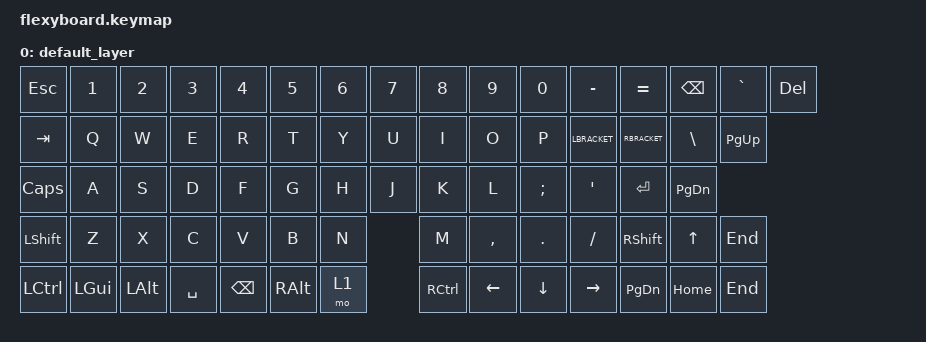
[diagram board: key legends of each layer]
#include <behaviors.dtsi>
#include <dt-bindings/zmk/keys.h>
#include <dt-bindings/zmk/bt.h>

/ {
    keymap {
        compatible = "zmk,keymap";

        default_layer {
            bindings = <
                &kp ESC    &kp N1     &kp N2     &kp N3     &kp N4     &kp N5     &kp N6     &kp N7     &kp N8     &kp N9     &kp N0     &kp MINUS  &kp EQUAL   &kp BSPC    &kp GRAVE   &kp DEL
                &kp TAB    &kp Q      &kp W      &kp E      &kp R      &kp T      &kp Y      &kp U      &kp I      &kp O      &kp P      &kp LBRACKET &kp RBRACKET &kp BSLH    &kp PG_UP
                &kp CAPS   &kp A      &kp S      &kp D      &kp F      &kp G      &kp H      &kp J      &kp K      &kp L      &kp SEMI    &kp SQT     &kp ENTER     &kp PG_DN
                &kp LSHIFT &kp Z      &kp X      &kp C      &kp V      &kp B      &kp N      &kp M      &kp COMMA   &kp DOT     &kp SLASH   &kp RSHIFT   &kp UP        &kp END
                &kp LCTRL  &kp LGUI   &kp LALT   &kp SPC    &kp BSPC    &kp RALT   &mo 1      &kp RCTRL  &kp LEFT    &kp DOWN    &kp RIGHT   &kp PG_DN    &kp HOME      &kp END
            >;
        };
    };
};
